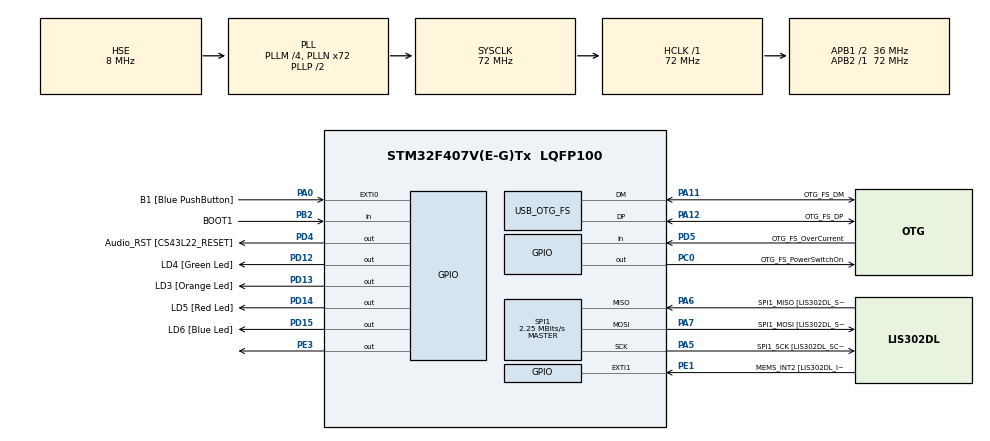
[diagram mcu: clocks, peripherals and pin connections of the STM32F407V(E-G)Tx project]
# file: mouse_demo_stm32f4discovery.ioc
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Mcu.Family=STM32F4
Mcu.Name=STM32F407V(E-G)Tx
Mcu.Package=LQFP100
NVIC.OTG_FS_IRQn=true\:0\:0\:false\:false\:true
NVIC.PriorityGroup=NVIC_PRIORITYGROUP_0
PA0-WKUP.GPIO_Label=B1 [Blue PushButton]
PA0-WKUP.GPIO_ModeDefaultEXTI=GPIO_MODE_EVT_RISING
PA0-WKUP.GPIO_PuPd=GPIO_NOPULL
PA0-WKUP.Signal=GPXTI0
PA10.GPIO_Label=OTG_FS_ID
PA10.GPIO_Mode=GPIO_MODE_AF_PP
PA10.GPIO_PuPd=GPIO_NOPULL
PA10.GPIO_Speed=GPIO_SPEED_FREQ_LOW
PA10.Signal=USB_OTG_FS_ID
PA11.GPIO_Label=OTG_FS_DM
PA11.GPIO_Mode=GPIO_MODE_AF_PP
PA11.GPIO_PuPd=GPIO_NOPULL
PA11.GPIO_Speed=GPIO_SPEED_FREQ_LOW
PA11.Mode=Device_Only
PA11.Signal=USB_OTG_FS_DM
PA12.GPIO_Label=OTG_FS_DP
PA12.GPIO_Mode=GPIO_MODE_AF_PP
PA12.GPIO_PuPd=GPIO_NOPULL
PA12.GPIO_Speed=GPIO_SPEED_FREQ_LOW
PA12.Mode=Device_Only
PA12.Signal=USB_OTG_FS_DP
PA13.GPIO_Label=SWDIO
PA13.Signal=SYS_JTMS-SWDIO
PA14.GPIO_Label=SWCLK
PA14.Signal=SYS_JTCK-SWCLK
PA4.GPIO_Label=I2S3_WS [CS43L22_LRCK]
PA4.GPIO_Mode=GPIO_MODE_AF_PP
PA4.GPIO_PuPd=GPIO_NOPULL
PA4.GPIO_Speed=GPIO_SPEED_FREQ_LOW
PA4.Signal=I2S3_WS
PA5.GPIO_Label=SPI1_SCK [LIS302DL_SCL/SPC]
PA5.GPIO_Mode=GPIO_MODE_AF_PP
PA5.GPIO_PuPd=GPIO_NOPULL
PA5.GPIO_Speed=GPIO_SPEED_FREQ_LOW
PA5.Mode=Full_Duplex_Master
PA5.Signal=SPI1_SCK
PA6.GPIO_Label=SPI1_MISO [LIS302DL_SDO]
PA6.GPIO_Mode=GPIO_MODE_AF_PP
PA6.GPIO_PuPd=GPIO_NOPULL
PA6.GPIO_Speed=GPIO_SPEED_FREQ_LOW
PA6.Mode=Full_Duplex_Master
PA6.Signal=SPI1_MISO
PA7.GPIO_Label=SPI1_MOSI [LIS302DL_SDA/SDI/SDO]
PA7.GPIO_Mode=GPIO_MODE_AF_PP
PA7.GPIO_PuPd=GPIO_NOPULL
PA7.GPIO_Speed=GPIO_SPEED_FREQ_LOW
PA7.Mode=Full_Duplex_Master
PA7.Signal=SPI1_MOSI
PA9.GPIO_Label=VBUS_FS
PA9.GPIO_Mode=GPIO_MODE_INPUT
PA9.GPIO_PuPd=GPIO_NOPULL
PA9.Signal=USB_OTG_FS_VBUS
PB10.GPIO_Label=CLK_IN [MP45DT02_CLK]
PB10.GPIO_Mode=GPIO_MODE_AF_PP
PB10.GPIO_PuPd=GPIO_NOPULL
PB10.GPIO_Speed=GPIO_SPEED_FREQ_LOW
PB10.Signal=I2S2_CK
PB2.GPIO_Label=BOOT1
PB2.GPIO_Mode=GPIO_MODE_INPUT
PB2.GPIO_PuPd=GPIO_NOPULL
PB2.Signal=GPIO_Input
PB3.GPIO_Label=SWO
PB3.Signal=SYS_JTDO-SWO
PB6.GPIO_Label=Audio_SCL [CS43L22_SCL]
PB6.GPIO_Mode=GPIO_MODE_AF_OD
PB6.GPIO_PuPd=GPIO_NOPULL
PB6.GPIO_Speed=GPIO_SPEED_FREQ_LOW
PB6.Signal=I2C1_SCL
PB9.GPIO_Label=Audio_SDA [CS43L22_SDA]
PB9.GPIO_Mode=GPIO_MODE_AF_OD
PB9.GPIO_PuPd=GPIO_NOPULL
PB9.GPIO_Speed=GPIO_SPEED_FREQ_LOW
PB9.Signal=I2C1_SDA
PC0.GPIO_Label=OTG_FS_PowerSwitchOn
PC0.GPIO_PuPd=GPIO_NOPULL
PC0.GPIO_Speed=GPIO_SPEED_FREQ_LOW
PC0.Signal=GPIO_Output
PC10.GPIO_Label=I2S3_SCK [CS43L22_SCLK]
PC10.GPIO_Mode=GPIO_MODE_AF_PP
PC10.GPIO_PuPd=GPIO_NOPULL
PC10.GPIO_Speed=GPIO_SPEED_FREQ_LOW
PC10.Signal=I2S3_CK
PC12.GPIO_Label=I2S3_SD [CS43L22_SDIN]
PC12.GPIO_Mode=GPIO_MODE_AF_PP
PC12.GPIO_PuPd=GPIO_NOPULL
PC12.GPIO_Speed=GPIO_SPEED_FREQ_LOW
PC12.Signal=I2S3_SD
PC14-OSC32_IN.GPIO_Label=PC14-OSC32_IN
PC14-OSC32_IN.Signal=RCC_OSC32_IN
PC15-OSC32_OUT.GPIO_Label=PC15-OSC32_OUT
PC15-OSC32_OUT.Signal=RCC_OSC32_OUT
PC3.GPIO_Label=PDM_OUT [MP45DT02_DOUT]
PC3.GPIO_Mode=GPIO_MODE_AF_PP
PC3.GPIO_PuPd=GPIO_NOPULL
PC3.GPIO_Speed=GPIO_SPEED_FREQ_LOW
PC3.Signal=I2S2_SD
PC7.GPIO_Label=I2S3_MCK [CS43L22_MCLK]
PC7.GPIO_Mode=GPIO_MODE_AF_PP
PC7.GPIO_PuPd=GPIO_NOPULL
PC7.GPIO_Speed=GPIO_SPEED_FREQ_LOW
PC7.Signal=I2S3_MCK
PD12.GPIO_Label=LD4 [Green Led]
PD12.GPIO_PuPd=GPIO_NOPULL
PD12.GPIO_Speed=GPIO_SPEED_FREQ_LOW
PD12.Signal=GPIO_Output
PD13.GPIO_Label=LD3 [Orange Led]
PD13.GPIO_PuPd=GPIO_NOPULL
PD13.GPIO_Speed=GPIO_SPEED_FREQ_LOW
PD13.Signal=GPIO_Output
PD14.GPIO_Label=LD5 [Red Led]
PD14.GPIO_PuPd=GPIO_NOPULL
PD14.GPIO_Speed=GPIO_SPEED_FREQ_LOW
PD14.Signal=GPIO_Output
PD15.GPIO_Label=LD6 [Blue Led]
PD15.GPIO_PuPd=GPIO_NOPULL
PD15.GPIO_Speed=GPIO_SPEED_FREQ_LOW
PD15.Signal=GPIO_Output
PD4.GPIO_Label=Audio_RST [CS43L22_RESET]
PD4.GPIO_PuPd=GPIO_NOPULL
PD4.GPIO_Speed=GPIO_SPEED_FREQ_LOW
PD4.Signal=GPIO_Output
PD5.GPIO_Label=OTG_FS_OverCurrent
PD5.GPIO_Mode=GPIO_MODE_INPUT
PD5.GPIO_PuPd=GPIO_NOPULL
PD5.Signal=GPIO_Input
PE1.GPIO_Label=MEMS_INT2 [LIS302DL_INT2]
PE1.GPIO_ModeDefaultEXTI=GPIO_MODE_EVT_RISING
PE1.GPIO_PuPd=GPIO_NOPULL
PE1.Signal=GPXTI1
PE3.Signal=GPIO_Output
PH0-OSC_IN.GPIO_Label=PH0-OSC_IN
PH0-OSC_IN.Mode=HSE-External-Oscillator
PH0-OSC_IN.Signal=RCC_OSC_IN
PH1-OSC_OUT.GPIO_Label=PH1-OSC_OUT
PH1-OSC_OUT.Mode=HSE-External-Oscillator
PH1-OSC_OUT.Signal=RCC_OSC_OUT
ProjectManager.HeapSize=0x200
ProjectManager.StackSize=0x400
ProjectManager.TargetToolchain=SW4STM32
RCC.48MHZClocksFreq_Value=48000000
RCC.AHBFreq_Value=72000000
RCC.APB1CLKDivider=RCC_HCLK_DIV2
RCC.APB1Freq_Value=36000000
RCC.APB1TimFreq_Value=72000000
RCC.APB2Freq_Value=72000000
RCC.APB2TimFreq_Value=72000000
RCC.CortexFreq_Value=72000000
RCC.HCLKFreq_Value=72000000
RCC.HSE_VALUE=8000000
RCC.HSI_VALUE=16000000
RCC.LSE_VALUE=32768
RCC.PLLM=4
RCC.PLLN=72
RCC.PLLQ=3
RCC.SYSCLKFreq_VALUE=72000000
RCC.SYSCLKSource=RCC_SYSCLKSOURCE_PLLCLK
RCC.VCOOutputFreq_Value=144000000
SPI1.BaudRatePrescaler=SPI_BAUDRATEPRESCALER_32
SPI1.CalculateBaudRate=2.25 MBits/s
SPI1.Mode=SPI_MODE_MASTER
USB_DEVICE.CLASS_NAME-HID_FS=HID
USB_DEVICE.MANUFACTURER_STRING-HID_FS=Gagnon
USB_DEVICE.PRODUCT_STRING_HID_FS=THE MOUSE STM32
USB_DEVICE.USBD_HandleTypeDef-HID_FS=hUsbDeviceFS
USB_DEVICE.VirtualMode-HID_FS=Hid
USB_DEVICE.VirtualModeFS=Hid_FS
USB_OTG_FS.VirtualMode=Device_Only
VP_USB_DEVICE_VS_USB_DEVICE_HID_FS.Mode=HID_FS
board=STM32F4DISCOVERY

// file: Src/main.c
/**
  ******************************************************************************
  * File Name          : main.c
  * Description        : Main program body
  ******************************************************************************
  *
  * COPYRIGHT(c) 2016 STMicroelectronics
  *
  * Redistribution and use in source and binary forms, with or without modification,
  * are permitted provided that the following conditions are met:
  *   1. Redistributions of source code must retain the above copyright notice,
  *      this list of conditions and the following disclaimer.
  *   2. Redistributions in binary form must reproduce the above copyright notice,
  *      this list of conditions and the following disclaimer in the documentation
  *      and/or other materials provided with the distribution.
  *   3. Neither the name of STMicroelectronics nor the names of its contributors
  *      may be used to endorse or promote products derived from this software
  *      without specific prior written permission.
  *
  * THIS SOFTWARE IS PROVIDED BY THE COPYRIGHT HOLDERS AND CONTRIBUTORS "AS IS"
  * AND ANY EXPRESS OR IMPLIED WARRANTIES, INCLUDING, BUT NOT LIMITED TO, THE
  * IMPLIED WARRANTIES OF MERCHANTABILITY AND FITNESS FOR A PARTICULAR PURPOSE ARE
  * DISCLAIMED. IN NO EVENT SHALL THE COPYRIGHT HOLDER OR CONTRIBUTORS BE LIABLE
  * FOR ANY DIRECT, INDIRECT, INCIDENTAL, SPECIAL, EXEMPLARY, OR CONSEQUENTIAL
  * DAMAGES (INCLUDING, BUT NOT LIMITED TO, PROCUREMENT OF SUBSTITUTE GOODS OR
  * SERVICES; LOSS OF USE, DATA, OR PROFITS; OR BUSINESS INTERRUPTION) HOWEVER
  * CAUSED AND ON ANY THEORY OF LIABILITY, WHETHER IN CONTRACT, STRICT LIABILITY,
  * OR TORT (INCLUDING NEGLIGENCE OR OTHERWISE) ARISING IN ANY WAY OUT OF THE USE
  * OF THIS SOFTWARE, EVEN IF ADVISED OF THE POSSIBILITY OF SUCH DAMAGE.
  *
  ******************************************************************************
  */
#include "stm32f4xx_hal.h"
#include "usb_device.h"

/* USER CODE BEGIN Includes */
#include "usbd_hid.h"

#define MEM_READ 	0x80
#define MEM_ADDR_X 	0x29
#define MEM_ADDR_Y 	0x2B
#define MEM_ADDR_Z 	0x2D

/* USER CODE END Includes */

SPI_HandleTypeDef hspi1;

/* USER CODE BEGIN PV */
/* Private variables ---------------------------------------------------------*/
extern USBD_HandleTypeDef hUsbDeviceFS;
uint8_t buffer[4];
uint8_t address, data;
uint8_t address_x, address_y;
/* USER CODE END PV */

void SystemClock_Config(void);
void Error_Handler(void);
static void MX_GPIO_Init(void);
static void MX_SPI1_Init(void);

/* USER CODE BEGIN PFP */
/* Private function prototypes -----------------------------------------------*/

/* USER CODE END PFP */

int main(void)
{

  /* MCU Configuration----------------------------------------------------------*/

  /* Reset of all peripherals, Initializes the Flash interface and the Systick. */
  HAL_Init();

  /* Configure the system clock */
  SystemClock_Config();

  /* Initialize all configured peripherals */
  MX_GPIO_Init();
  MX_USB_DEVICE_Init();
  MX_SPI1_Init();

  /* USER CODE BEGIN 2 */
  //Mouse buffer
  buffer[0] = 0x00;
  buffer[1] = 0x00;
  buffer[2] = 0x00;
  buffer[3] = 0x00;

  //MEMS init
  HAL_GPIO_WritePin(GPIOE, GPIO_PIN_3, GPIO_PIN_RESET);//CS pin low
  address = 0x20;
  HAL_SPI_Transmit(&hspi1, &address, 1, 50);
  data = 0x67;
  HAL_SPI_Transmit(&hspi1, &data, 1, 50);
  HAL_GPIO_WritePin(GPIOE, GPIO_PIN_3, GPIO_PIN_SET);

  /* USER CODE END 2 */

  /* Infinite loop */
  /* USER CODE BEGIN WHILE */
  while (1)
  {
	  //Read MEMS
	  HAL_GPIO_WritePin(GPIOE, GPIO_PIN_3, GPIO_PIN_RESET);//CS pin low
	  address = MEM_ADDR_X + MEM_READ; //Read address
	  HAL_SPI_Transmit(&hspi1, &address, 1, 50);
	  HAL_SPI_Receive(&hspi1, &buffer[1], 1, 50);
	  HAL_GPIO_WritePin(GPIOE, GPIO_PIN_3, GPIO_PIN_SET);

	  HAL_GPIO_WritePin(GPIOE, GPIO_PIN_3, GPIO_PIN_RESET);//CS pin low
	  address = MEM_ADDR_Y + MEM_READ; //Read address
	  HAL_SPI_Transmit(&hspi1, &address, 1, 50);
	  HAL_SPI_Receive(&hspi1, &buffer[2], 1, 50);
	  HAL_GPIO_WritePin(GPIOE, GPIO_PIN_3, GPIO_PIN_SET);

	  //Filtering and gain
	  if(buffer[1] <= 8 || (buffer[1] * -1) >= 8)
		  buffer[1] = 0;
	  if(buffer[2] <= 8 || (buffer[2] * -1) >= 8)
		  buffer[2] = 0;
	  buffer[1] = buffer[1] * -1; //Invert x axis
	  //buffer[2] = buffer[2] * 1;

	  //Checking button
	  if(HAL_GPIO_ReadPin(GPIOA, GPIO_PIN_0)) {
		  buffer[0] = 0x01;
	  } else {
		  buffer[0] = 0x00;
	  }

	  //Update mouse
	  USBD_HID_SendReport(&hUsbDeviceFS, buffer, 4);
	  HAL_Delay(25);

  /* USER CODE END WHILE */

  }

}

/** System Clock Configuration
*/
void SystemClock_Config(void)
{

  RCC_OscInitTypeDef RCC_OscInitStruct;
  RCC_ClkInitTypeDef RCC_ClkInitStruct;

  __HAL_RCC_PWR_CLK_ENABLE();

  __HAL_PWR_VOLTAGESCALING_CONFIG(PWR_REGULATOR_VOLTAGE_SCALE1);

  RCC_OscInitStruct.OscillatorType = RCC_OSCILLATORTYPE_HSE;
  RCC_OscInitStruct.HSEState = RCC_HSE_ON;
  RCC_OscInitStruct.PLL.PLLState = RCC_PLL_ON;
  RCC_OscInitStruct.PLL.PLLSource = RCC_PLLSOURCE_HSE;
  RCC_OscInitStruct.PLL.PLLM = 4;
  RCC_OscInitStruct.PLL.PLLN = 72;
  RCC_OscInitStruct.PLL.PLLP = RCC_PLLP_DIV2;
  RCC_OscInitStruct.PLL.PLLQ = 3;
  if (HAL_RCC_OscConfig(&RCC_OscInitStruct) != HAL_OK)
  {
    Error_Handler();
  }

  RCC_ClkInitStruct.ClockType = RCC_CLOCKTYPE_HCLK|RCC_CLOCKTYPE_SYSCLK
                              |RCC_CLOCKTYPE_PCLK1|RCC_CLOCKTYPE_PCLK2;
  RCC_ClkInitStruct.SYSCLKSource = RCC_SYSCLKSOURCE_PLLCLK;
  RCC_ClkInitStruct.AHBCLKDivider = RCC_SYSCLK_DIV1;
  RCC_ClkInitStruct.APB1CLKDivider = RCC_HCLK_DIV2;
  RCC_ClkInitStruct.APB2CLKDivider = RCC_HCLK_DIV1;
  if (HAL_RCC_ClockConfig(&RCC_ClkInitStruct, FLASH_LATENCY_2) != HAL_OK)
  {
    Error_Handler();
  }

  HAL_SYSTICK_Config(HAL_RCC_GetHCLKFreq()/1000);

  HAL_SYSTICK_CLKSourceConfig(SYSTICK_CLKSOURCE_HCLK);

  /* SysTick_IRQn interrupt configuration */
  HAL_NVIC_SetPriority(SysTick_IRQn, 0, 0);
}

/* SPI1 init function */
static void MX_SPI1_Init(void)
{

  hspi1.Instance = SPI1;
  hspi1.Init.Mode = SPI_MODE_MASTER;
  hspi1.Init.Direction = SPI_DIRECTION_2LINES;
  hspi1.Init.DataSize = SPI_DATASIZE_8BIT;
  hspi1.Init.CLKPolarity = SPI_POLARITY_LOW;
  hspi1.Init.CLKPhase = SPI_PHASE_1EDGE;
  hspi1.Init.NSS = SPI_NSS_SOFT;
  hspi1.Init.BaudRatePrescaler = SPI_BAUDRATEPRESCALER_32;
  hspi1.Init.FirstBit = SPI_FIRSTBIT_MSB;
  hspi1.Init.TIMode = SPI_TIMODE_DISABLE;
  hspi1.Init.CRCCalculation = SPI_CRCCALCULATION_DISABLE;
  hspi1.Init.CRCPolynomial = 10;
  if (HAL_SPI_Init(&hspi1) != HAL_OK)
  {
    Error_Handler();
  }

}

/** Configure pins as
        * Analog
        * Input
        * Output
        * EVENT_OUT
        * EXTI
     PC3   ------> I2S2_SD
     PA4   ------> I2S3_WS
     PB10   ------> I2S2_CK
     PC7   ------> I2S3_MCK
     PC10   ------> I2S3_CK
     PC12   ------> I2S3_SD
     PB6   ------> I2C1_SCL
     PB9   ------> I2C1_SDA
*/
static void MX_GPIO_Init(void)
{

  GPIO_InitTypeDef GPIO_InitStruct;

  /* GPIO Ports Clock Enable */
  __HAL_RCC_GPIOE_CLK_ENABLE();
  __HAL_RCC_GPIOC_CLK_ENABLE();
  __HAL_RCC_GPIOH_CLK_ENABLE();
  __HAL_RCC_GPIOA_CLK_ENABLE();
  __HAL_RCC_GPIOB_CLK_ENABLE();
  __HAL_RCC_GPIOD_CLK_ENABLE();

  /*Configure GPIO pin Output Level */
  HAL_GPIO_WritePin(GPIOE, GPIO_PIN_3, GPIO_PIN_RESET);

  /*Configure GPIO pin Output Level */
  HAL_GPIO_WritePin(OTG_FS_PowerSwitchOn_GPIO_Port, OTG_FS_PowerSwitchOn_Pin, GPIO_PIN_RESET);

  /*Configure GPIO pin Output Level */
  HAL_GPIO_WritePin(GPIOD, LD4_Pin|LD3_Pin|LD5_Pin|LD6_Pin
                          |Audio_RST_Pin, GPIO_PIN_RESET);

  /*Configure GPIO pin : PE3 */
  GPIO_InitStruct.Pin = GPIO_PIN_3;
  GPIO_InitStruct.Mode = GPIO_MODE_OUTPUT_PP;
  GPIO_InitStruct.Pull = GPIO_NOPULL;
  GPIO_InitStruct.Speed = GPIO_SPEED_FREQ_LOW;
  HAL_GPIO_Init(GPIOE, &GPIO_InitStruct);

  /*Configure GPIO pin : OTG_FS_PowerSwitchOn_Pin */
  GPIO_InitStruct.Pin = OTG_FS_PowerSwitchOn_Pin;
  GPIO_InitStruct.Mode = GPIO_MODE_OUTPUT_PP;
  GPIO_InitStruct.Pull = GPIO_NOPULL;
  GPIO_InitStruct.Speed = GPIO_SPEED_FREQ_LOW;
  HAL_GPIO_Init(OTG_FS_PowerSwitchOn_GPIO_Port, &GPIO_InitStruct);

  /*Configure GPIO pin : PDM_OUT_Pin */
  GPIO_InitStruct.Pin = PDM_OUT_Pin;
  GPIO_InitStruct.Mode = GPIO_MODE_AF_PP;
  GPIO_InitStruct.Pull = GPIO_NOPULL;
  GPIO_InitStruct.Speed = GPIO_SPEED_FREQ_LOW;
  GPIO_InitStruct.Alternate = GPIO_AF5_SPI2;
  HAL_GPIO_Init(PDM_OUT_GPIO_Port, &GPIO_InitStruct);

  /*Configure GPIO pin : B1_Pin */
  GPIO_InitStruct.Pin = B1_Pin;
  GPIO_InitStruct.Mode = GPIO_MODE_EVT_RISING;
  GPIO_InitStruct.Pull = GPIO_NOPULL;
  HAL_GPIO_Init(B1_GPIO_Port, &GPIO_InitStruct);

  /*Configure GPIO pin : PA4 */
  GPIO_InitStruct.Pin = GPIO_PIN_4;
  GPIO_InitStruct.Mode = GPIO_MODE_AF_PP;
  GPIO_InitStruct.Pull = GPIO_NOPULL;
  GPIO_InitStruct.Speed = GPIO_SPEED_FREQ_LOW;
  GPIO_InitStruct.Alternate = GPIO_AF6_SPI3;
  HAL_GPIO_Init(GPIOA, &GPIO_InitStruct);

  /*Configure GPIO pin : BOOT1_Pin */
  GPIO_InitStruct.Pin = BOOT1_Pin;
  GPIO_InitStruct.Mode = GPIO_MODE_INPUT;
  GPIO_InitStruct.Pull = GPIO_NOPULL;
  HAL_GPIO_Init(BOOT1_GPIO_Port, &GPIO_InitStruct);

  /*Configure GPIO pin : CLK_IN_Pin */
  GPIO_InitStruct.Pin = CLK_IN_Pin;
  GPIO_InitStruct.Mode = GPIO_MODE_AF_PP;
  GPIO_InitStruct.Pull = GPIO_NOPULL;
  GPIO_InitStruct.Speed = GPIO_SPEED_FREQ_LOW;
  GPIO_InitStruct.Alternate = GPIO_AF5_SPI2;
  HAL_GPIO_Init(CLK_IN_GPIO_Port, &GPIO_InitStruct);

  /*Configure GPIO pins : LD4_Pin LD3_Pin LD5_Pin LD6_Pin
                           Audio_RST_Pin */
  GPIO_InitStruct.Pin = LD4_Pin|LD3_Pin|LD5_Pin|LD6_Pin
                          |Audio_RST_Pin;
  GPIO_InitStruct.Mode = GPIO_MODE_OUTPUT_PP;
  GPIO_InitStruct.Pull = GPIO_NOPULL;
  GPIO_InitStruct.Speed = GPIO_SPEED_FREQ_LOW;
  HAL_GPIO_Init(GPIOD, &GPIO_InitStruct);

  /*Configure GPIO pins : PC7 I2S3_SCK_Pin PC12 */
  GPIO_InitStruct.Pin = GPIO_PIN_7|I2S3_SCK_Pin|GPIO_PIN_12;
  GPIO_InitStruct.Mode = GPIO_MODE_AF_PP;
  GPIO_InitStruct.Pull = GPIO_NOPULL;
  GPIO_InitStruct.Speed = GPIO_SPEED_FREQ_LOW;
  GPIO_InitStruct.Alternate = GPIO_AF6_SPI3;
  HAL_GPIO_Init(GPIOC, &GPIO_InitStruct);

  /*Configure GPIO pin : OTG_FS_OverCurrent_Pin */
  GPIO_InitStruct.Pin = OTG_FS_OverCurrent_Pin;
  GPIO_InitStruct.Mode = GPIO_MODE_INPUT;
  GPIO_InitStruct.Pull = GPIO_NOPULL;
  HAL_GPIO_Init(OTG_FS_OverCurrent_GPIO_Port, &GPIO_InitStruct);

  /*Configure GPIO pins : Audio_SCL_Pin Audio_SDA_Pin */
  GPIO_InitStruct.Pin = Audio_SCL_Pin|Audio_SDA_Pin;
  GPIO_InitStruct.Mode = GPIO_MODE_AF_OD;
  GPIO_InitStruct.Pull = GPIO_PULLUP;
  GPIO_InitStruct.Speed = GPIO_SPEED_FREQ_LOW;
  GPIO_InitStruct.Alternate = GPIO_AF4_I2C1;
  HAL_GPIO_Init(GPIOB, &GPIO_InitStruct);

  /*Configure GPIO pin : MEMS_INT2_Pin */
  GPIO_InitStruct.Pin = MEMS_INT2_Pin;
  GPIO_InitStruct.Mode = GPIO_MODE_EVT_RISING;
  GPIO_InitStruct.Pull = GPIO_NOPULL;
  HAL_GPIO_Init(MEMS_INT2_GPIO_Port, &GPIO_InitStruct);

}

void Error_Handler(void)
{
  while(1)
  {
  }
}

/************************ (C) COPYRIGHT STMicroelectronics *****END OF FILE****/
